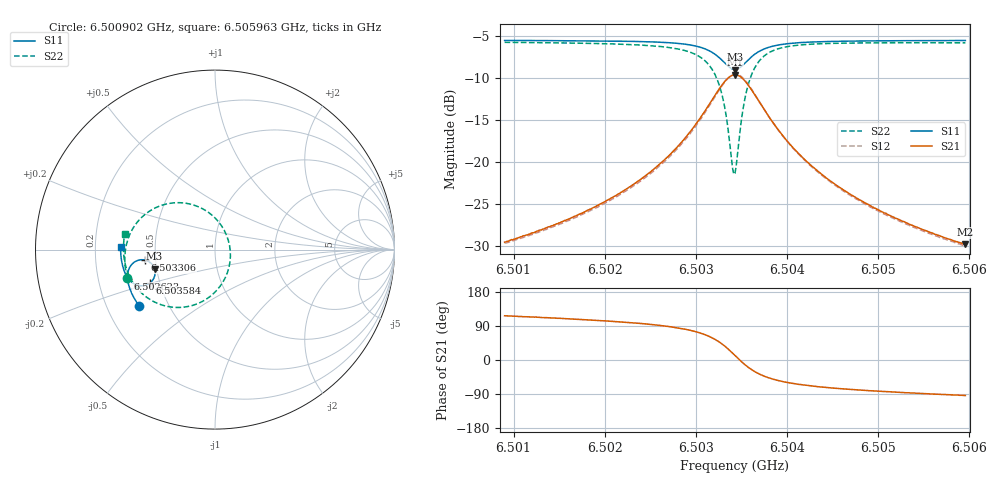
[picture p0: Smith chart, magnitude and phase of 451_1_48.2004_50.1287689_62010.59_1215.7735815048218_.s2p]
#  HZ  S  RI  R  50.00
! Rohde & Schwarz Vector Network Analyzer
! Rohde-Schwarz,ZNB20-2Port,1311601062101988,3.16
! Created: UTC 3/20/2024, 11:56:14 AM
! freq[Hz]  re:S11  im:S11  re:S21  im:S21  re:S12  im:S12  re:S22  im:S22
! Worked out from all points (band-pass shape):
!   401 points, 6.500902 GHz to 6.505963 GHz, reference 50 ohm
!   highest |S21| = -9.66 dB at 6.503432 GHz (marker M1); lowest = -29.8 dB at 6.505963 GHz (marker M2)
!   |S21| within 3 dB of the highest: 6.50318 GHz to 6.503686 GHz (506.1 kHz wide, 0.00778 % of centre)
!   lowest |S11| = -9.0 dB at 6.503432 GHz (marker M3), VSWR 2.09, Z = 24.3 - j5.95 ohm
!   |S11| at or under -10 dB: nowhere
!   |S22| runs from -21.5 to -5.8 dB; largest |S21 - S12| = 0.011
!   S11 on the Smith chart (normalised r, x): 6.500902 GHz: 0.34, -0.29; 6.502623 GHz: 0.33, -0.15; 6.503306 GHz: 0.44, -0.06; 6.503584 GHz: 0.44, -0.20; 6.505963 GHz: 0.31, +0.01
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6.5009018e9  -0.4242 -0.3121  -0.015 0.0297  -0.0132 0.03  -0.4879 -0.1595
6.5017495e9  -0.461 -0.2498  -0.0142 0.0473  -0.012 0.0471  -0.502 -0.0702
6.502205e9  -0.4771 -0.2098  -0.0116 0.066  -0.00871 0.065  -0.4998 -0.00627
6.5025973e9  -0.4866 -0.1668  -0.00246 0.096  0.00107 0.0937  -0.4804 0.0708
6.5026226e9  -0.4871 -0.1636  -0.00143 0.0988  0.00219 0.0963  -0.478 0.0771
6.5029136e9  -0.4834 -0.119  0.0256 0.1426  0.0294 0.138  -0.4217 0.166
6.5031034e9  -0.4623 -0.0809  0.0792 0.1845  0.0818 0.1783  -0.319 0.2385
6.5032173e9  -0.4299 -0.0601  0.1481 0.2022  0.149 0.196  -0.1953 0.2612
6.5033059e9  -0.3895 -0.0583  0.2275 0.1863  0.2278 0.1812  -0.0585 0.2215
6.5033438e9  -0.3703 -0.0659  0.2636 0.1633  0.2646 0.1588  0.00155 0.175
6.5034071e9  -0.3435 -0.0924  0.3115 0.0998  0.3143 0.0949  0.0738 0.0524
6.5034324e9  -0.337 -0.107  0.3219 0.0675  0.3252 0.0618  0.085 -0.00744
6.5034577e9  -0.334 -0.1227  0.3256 0.0338  0.3293 0.0271  0.0834 -0.0689
6.503521e9  -0.341 -0.16  0.3078 -0.0443  0.31 -0.0541  0.0282 -0.2043
6.5035842e9  -0.3622 -0.186  0.2649 -0.0985  0.264 -0.1097  -0.0682 -0.2876
6.5036855e9  -0.4017 -0.2014  0.1903 -0.1347  0.1849 -0.1443  -0.2184 -0.3222
6.5038499e9  -0.4479 -0.1919  0.1085 -0.1318  0.1016 -0.1369  -0.3657 -0.2758
6.5040271e9  -0.4754 -0.1706  0.0639 -0.1117  0.0577 -0.1141  -0.4379 -0.2111
6.5042802e9  -0.4962 -0.1405  0.0341 -0.0875  0.0291 -0.0881  -0.4814 -0.139
6.5046724e9  -0.5121 -0.0997  0.0146 -0.0638  0.0113 -0.0633  -0.5043 -0.0621
6.5051279e9  -0.5211 -0.0578  0.00515 -0.0479  0.00282 -0.0473  -0.5101 0.00131
6.505963e9  -0.5261 0.0128  -0.00209 -0.0322  -0.00338 -0.0313  -0.5021 0.0894
